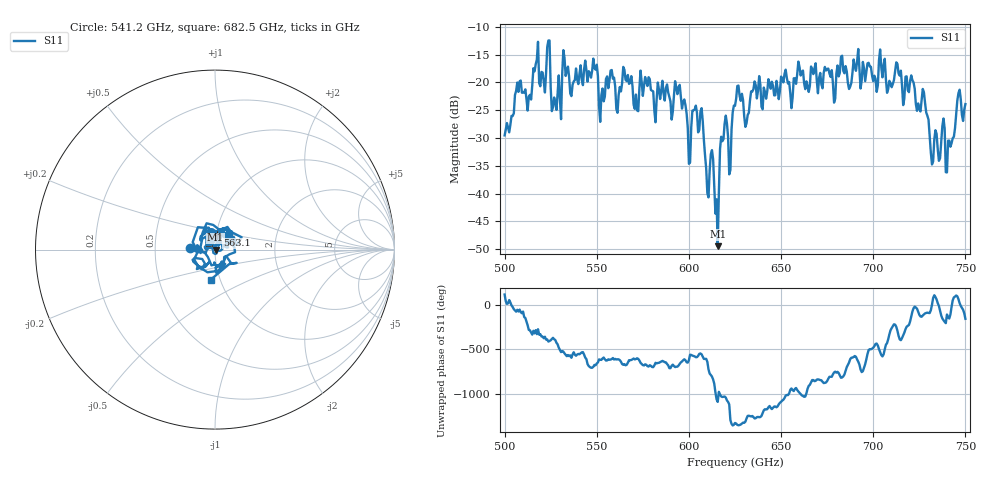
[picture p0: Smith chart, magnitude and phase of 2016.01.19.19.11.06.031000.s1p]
!Created with skrf (http://scikit-rf.org).
# GHz S RI R 50.0
!freq ReS11 ImS11
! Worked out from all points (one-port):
!   401 points, 500 GHz to 750 GHz, reference 50 ohm
!   lowest |S11| = -49.5 dB at 615.6 GHz (marker M1), VSWR 1.01, Z = 50.3 - j0.0515 ohm
!   |S11| at or under -10 dB: start of sweep to end of sweep
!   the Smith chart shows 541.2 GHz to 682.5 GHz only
!   S11 on the Smith chart (normalised r, x): 541.2 GHz: 0.75, +0.02; 563.1 GHz: 1.01, +0.17; 682.5 GHz: 0.90, -0.31
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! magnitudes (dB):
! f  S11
! 500 GHz  -29.5
! 507.5 GHz  -21.7
! 513.1 GHz  -22.6
! 516.9 GHz  -16.7
! 523.8 GHz  -12.5
! 526.9 GHz  -22.7
! 531.2 GHz  -18.4
! 541.2 GHz  -16.9
! 562.5 GHz  -20.8
! 563.1 GHz  -21.6
! 593.8 GHz  -22.1
! 600 GHz  -34.6
! 606.9 GHz  -24.6
! 610 GHz  -39.9
! 612.5 GHz  -32.2
! 615.6 GHz  -49.5
! 618.8 GHz  -30.2
! 622.5 GHz  -35.7
! 625 GHz  -24.2
! 656.2 GHz  -22.8
! 682.5 GHz  -15.4
! 687.5 GHz  -20.8
! 718.8 GHz  -21.4
! 728.1 GHz  -23.7
! 731.9 GHz  -34.8
! 740.6 GHz  -30.5
! 746.2 GHz  -21.9
! 750 GHz  -23.9
